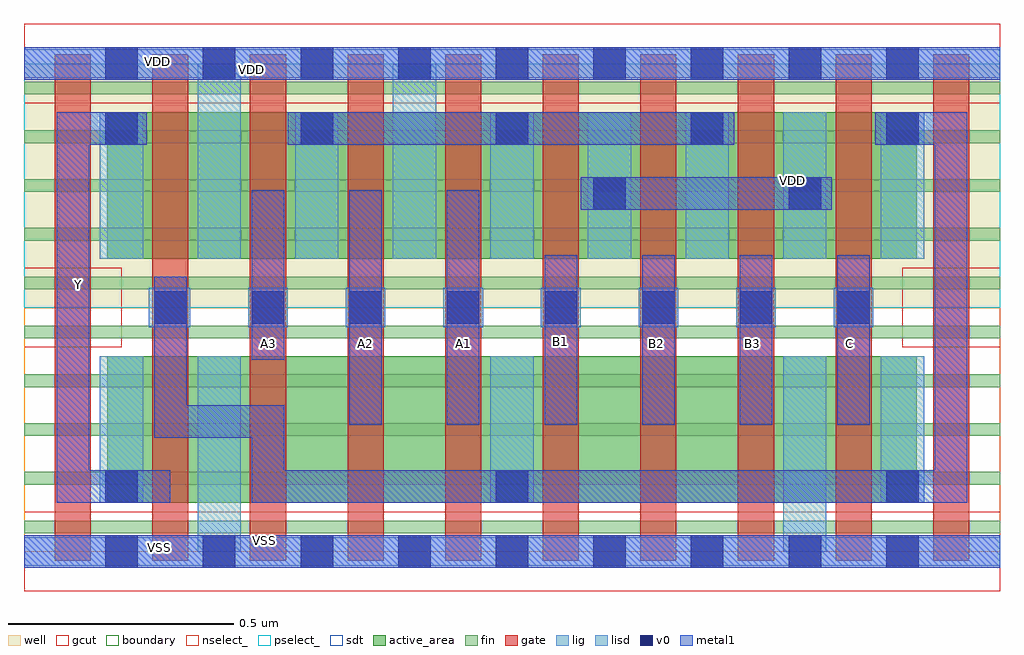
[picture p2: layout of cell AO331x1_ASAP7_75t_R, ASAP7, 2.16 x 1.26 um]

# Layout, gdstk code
import gdstk
lib = gdstk.Library(unit=1e-6, precision=2.5e-10)
def R(c, l, rs):  # rectangles x0, y0, x1, y1
    for r in rs: c.add(gdstk.rectangle(r[:2], r[2:], *l))
def A(c, l, x, y, w, h, nx, ny, dx, dy):  # array of equal rectangles
    R(c, l, [(x+i*dx, y+j*dy, x+i*dx+w, y+j*dy+h) for i in range(nx) for j in range(ny)])
def P(c, l, *ps):  # polygons
    for p in ps: c.add(gdstk.Polygon(p, *l))
well = (1, 0)
fin = (2, 0)
gate = (7, 0)
gcut = (10, 0)
active_area = (11, 0)
nselect_ = (12, 0)
pselect_ = (13, 0)
lig = (16, 0)
lisd = (17, 0)
v0 = (18, 0)
metal1 = (19, 0)
sdt = (88, 0)
boundary = (100, 0)

ao331x1_asap7_75t_r = lib.new_cell('AO331x1_ASAP7_75t_R')
R(ao331x1_asap7_75t_r, well, [(0,0.54,2.16,1.08)])
A(ao331x1_asap7_75t_r, fin, 0, 0.04, 2.16, 0.028, 1, 10, 0, 0.108)
A(ao331x1_asap7_75t_r, gate, 0.068, -0.02, 0.08, 1.12, 10, 1, 0.216, 0)
R(ao331x1_asap7_75t_r, gcut, [(0,-0.088,2.16,0.088), (0,0.452,0.216,0.628), (1.944,0.452,2.16,0.628), (0,0.992,2.16,1.168)])
R(ao331x1_asap7_75t_r, active_area, [(0.184,0.108,1.976,0.432), (0.184,0.648,1.976,0.972)])
R(ao331x1_asap7_75t_r, nselect_, [(0,0,2.16,0.54)])
R(ao331x1_asap7_75t_r, pselect_, [(0,0.54,2.16,1.08)])
A(ao331x1_asap7_75t_r, lig, 0.496, 0.496, 0.088, 0.088, 7, 1, 0.216, 0)
R(ao331x1_asap7_75t_r, lig, [(0,-0.032,2.16,0.032), (0.276,0.496,0.368,0.584), (0,1.048,2.16,1.112)])
A(ao331x1_asap7_75t_r, lisd, 0.168, 0.108, 0.096, 0.324, 3, 1, 0.864, 0)
A(ao331x1_asap7_75t_r, lisd, 0.168, 0.648, 0.096, 0.324, 3, 1, 0.432, 0)
A(ao331x1_asap7_75t_r, lisd, 1.248, 0.648, 0.096, 0.324, 4, 1, 0.216, 0)
R(ao331x1_asap7_75t_r, lisd, [(0.384,0,0.48,0.432), (1.68,0,1.776,0.432), (0.384,0.648,0.48,1.08), (0.816,0.648,0.912,1.08)])
A(ao331x1_asap7_75t_r, v0, 0.18, -0.036, 0.072, 0.072, 9, 2, 0.216, 1.08)
A(ao331x1_asap7_75t_r, v0, 0.18, 0.108, 0.072, 0.072, 3, 1, 0.864, 0)
A(ao331x1_asap7_75t_r, v0, 0.288, 0.504, 0.072, 0.072, 8, 1, 0.216, 0)
A(ao331x1_asap7_75t_r, v0, 0.18, 0.9, 0.072, 0.072, 5, 1, 0.432, 0)
R(ao331x1_asap7_75t_r, v0, [(0.18,-0.036,0.252,0.036), (1.26,0.756,1.332,0.828), (1.692,0.756,1.764,0.828), (0.18,1.044,0.252,1.116)])
A(ao331x1_asap7_75t_r, metal1, 1.152, 0.28, 0.072, 0.376, 4, 1, 0.216, 0)
R(ao331x1_asap7_75t_r, metal1, [(0,-0.036,2.16,0.036), (0.72,0.28,0.792,0.8), (0.936,0.28,1.008,0.8), (0.504,0.424,0.576,0.8), (1.232,0.756,1.788,0.828), (0.584,0.9,1.572,0.972), (0,1.044,2.16,1.116)])
P(ao331x1_asap7_75t_r, metal1, [(2.088,0.972),(1.884,0.972),(1.884,0.9),(2.016,0.9),(2.016,0.18),(0.576,0.18),(0.576,0.324),(0.36,0.324),(0.36,0.608),(0.288,0.608),(0.288,0.252),(0.504,0.252),(0.504,0.108),(2.088,0.108)],
  [(0.324,0.18),(0.144,0.18),(0.144,0.9),(0.272,0.9),(0.272,0.972),(0.072,0.972),(0.072,0.108),(0.324,0.108)])
A(ao331x1_asap7_75t_r, sdt, 0.384, 0.108, 0.096, 0.324, 3, 1, 0.648, 0)
A(ao331x1_asap7_75t_r, sdt, 0.168, 0.648, 0.096, 0.324, 9, 1, 0.216, 0)
R(ao331x1_asap7_75t_r, sdt, [(0.168,0.108,0.264,0.432), (0.168,0.108,0.264,0.432), (1.896,0.108,1.992,0.432), (0.168,0.648,0.264,0.972)])
R(ao331x1_asap7_75t_r, boundary, [(0,0,2.16,1.08)])
ao331x1_asap7_75t_r.add(gdstk.Label('Y', (0.12,0.59), layer=19, texttype=251))
ao331x1_asap7_75t_r.add(gdstk.Label('VDD', (0.504,1.066), layer=19, texttype=251))
ao331x1_asap7_75t_r.add(gdstk.Label('VSS', (0.532,0.024), layer=19, texttype=251))
ao331x1_asap7_75t_r.add(gdstk.Label('VSS', (0.3,0.008), layer=19, texttype=251))
ao331x1_asap7_75t_r.add(gdstk.Label('VDD', (0.296,1.084), layer=19, texttype=251))
ao331x1_asap7_75t_r.add(gdstk.Label('C', (1.828,0.46), layer=19, texttype=251))
ao331x1_asap7_75t_r.add(gdstk.Label('A3', (0.54,0.46), layer=19, texttype=251))
ao331x1_asap7_75t_r.add(gdstk.Label('A2', (0.756,0.46), layer=19, texttype=251))
ao331x1_asap7_75t_r.add(gdstk.Label('A1', (0.972,0.46), layer=19, texttype=251))
ao331x1_asap7_75t_r.add(gdstk.Label('B1', (1.188,0.464), layer=19, texttype=251))
ao331x1_asap7_75t_r.add(gdstk.Label('B2', (1.4,0.46), layer=19, texttype=251))
ao331x1_asap7_75t_r.add(gdstk.Label('B3', (1.612,0.46), layer=19, texttype=251))
ao331x1_asap7_75t_r.add(gdstk.Label('VDD', (1.7,0.82), layer=1, texttype=251))
ao331x1_asap7_75t_r.add(gdstk.Label('VSS', (1.464,-0.184), layer=3, texttype=251))

lib.write_gds('AO331x1_ASAP7_75t_R.gds')
